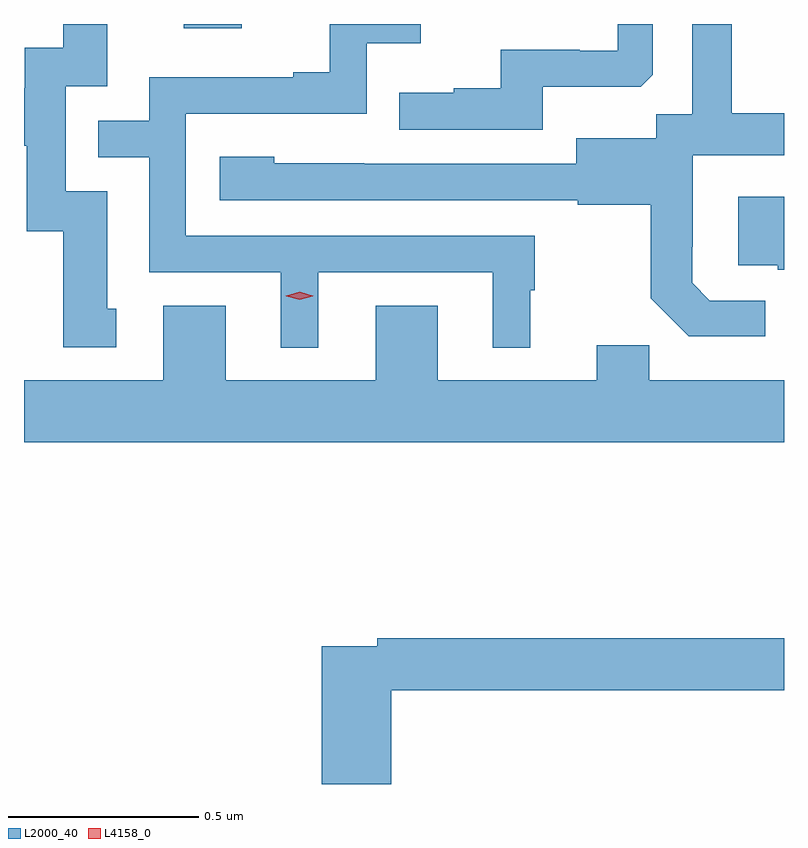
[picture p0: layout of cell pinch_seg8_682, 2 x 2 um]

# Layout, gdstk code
import gdstk
lib = gdstk.Library(unit=1e-6, precision=1e-09)
def R(c, l, rs):  # rectangles x0, y0, x1, y1
    for r in rs: c.add(gdstk.rectangle(r[:2], r[2:], *l))
def P(c, l, *ps):  # polygons
    for p in ps: c.add(gdstk.Polygon(p, *l))
L2000_40 = (2000, 40)
L4158_0 = (4158, 0)

pinch_seg8_682 = lib.new_cell('pinch_seg8_682')
R(pinch_seg8_682, L2000_40, [(277.079,1085.622,277.231,1085.633)])
P(pinch_seg8_682, L2000_40, [(276.901,1084.884),(276.877,1084.884),(276.877,1085.193),(276.768,1085.193),(276.768,1085.469),(276.877,1085.469),(276.877,1085.633),(276.761,1085.633),(276.761,1085.57),(276.66,1085.57),(276.66,1085.464),(276.658,1085.464),(276.658,1085.312),(276.665,1085.312),(276.665,1085.088),(276.761,1085.088),(276.761,1084.782),(276.901,1084.782)],
  [(278.608,1084.905),(278.463,1084.905),(278.416,1084.952),(278.416,1085.047),(278.418,1085.047),(278.418,1085.288),(278.658,1085.288),(278.658,1085.398),(278.521,1085.398),(278.521,1085.633),(278.417,1085.633),(278.417,1085.396),(278.322,1085.396),(278.322,1085.332),(278.111,1085.332),(278.111,1085.265),(277.553,1085.265),(277.553,1085.266),(277.317,1085.266),(277.317,1085.284),(277.173,1085.284),(277.173,1085.169),(278.115,1085.169),(278.115,1085.157),(278.307,1085.157),(278.307,1084.911),(278.407,1084.811),(278.608,1084.811)],
  [(278.023,1085.468),(278.281,1085.468),(278.313,1085.499),(278.313,1085.633),(278.22,1085.633),(278.22,1085.562),(278.12,1085.562),(278.12,1085.565),(277.913,1085.565),(277.913,1085.464),(277.789,1085.464),(277.789,1085.452),(277.645,1085.452),(277.645,1085.355),(278.023,1085.355)],
  [(277.432,1084.98),(277.892,1084.98),(277.892,1084.781),(277.99,1084.781),(277.99,1084.932),(278.002,1084.932),(278.002,1085.076),(277.083,1085.076),(277.083,1085.397),(277.56,1085.397),(277.56,1085.582),(277.702,1085.582),(277.702,1085.633),(277.462,1085.633),(277.462,1085.506),(277.367,1085.506),(277.367,1085.493),(276.987,1085.493),(276.987,1085.379),(276.853,1085.379),(276.853,1085.283),(276.987,1085.283),(276.987,1084.98),(277.334,1084.98),(277.334,1084.781),(277.432,1084.781)],
  [(278.658,1085.179),(278.537,1085.179),(278.537,1084.998),(278.641,1084.998),(278.641,1084.986),(278.658,1084.986)],
  [(278.658,1084.696),(278.303,1084.696),(278.303,1084.787),(278.165,1084.787),(278.165,1084.696),(277.747,1084.696),(277.747,1084.891),(277.583,1084.891),(277.583,1084.696),(277.189,1084.696),(277.189,1084.891),(277.025,1084.891),(277.025,1084.696),(276.658,1084.696),(276.658,1084.532),(278.658,1084.532)],
  [(277.625,1083.88),(278.658,1083.88),(278.658,1084.016),(277.588,1084.016),(277.588,1083.996),(277.442,1083.996),(277.442,1083.633),(277.625,1083.633)])
P(pinch_seg8_682, L4158_0, [(277.383,1084.908),(277.348,1084.917),(277.347,1084.918),(277.348,1084.918),(277.383,1084.928),(277.418,1084.918),(277.419,1084.918),(277.418,1084.917)])

lib.write_gds('pinch_seg8_682.gds')
